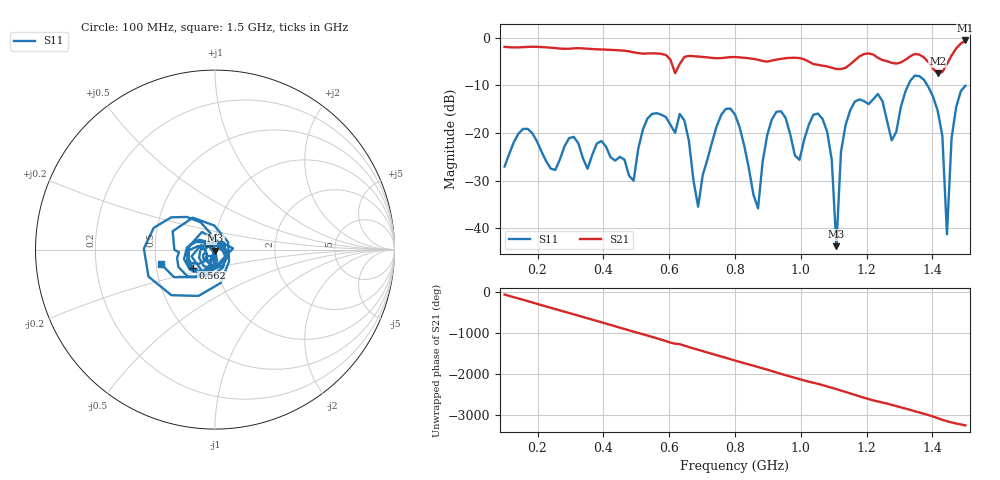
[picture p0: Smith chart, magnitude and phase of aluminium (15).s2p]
! NanoVNA-App
! Date: 2025-09-25 14:55:23
! Start: 100MHz Stop: 1,5GHz Points: 101
! S-Parameter data: F S11 S21 S12 S22
# Hz S RI R 50
!  Frequency  S11_Real  S11_Imag  S21_Real  S21_Imag  S12_Real  S12_Imag  S22_Real  S22_Imag
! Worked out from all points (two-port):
!   101 points, 100 MHz to 1.5 GHz, reference 50 ohm
!   highest |S21| = -0.57 dB at 1.5 GHz (marker M1); lowest = -7.5 dB at 1.416 GHz (marker M2)
!   |S21| within 3 dB of the highest: start of sweep to 587.2 MHz; 1.188 GHz to 1.221 GHz (33.17 MHz wide, 2.75 % of centre) (the widest 2 of 4)
!   lowest |S11| = -43.7 dB at 1.108 GHz (marker M3), VSWR 1.01, Z = 50.2 - j0.615 ohm
!   |S11| at or under -10 dB: start of sweep to 1.326 GHz; 1.385 GHz to end of sweep
!   S12 and S22 are empty: the file has one direction only
!   S11 on the Smith chart (normalised r, x): 100 MHz: 1.07, +0.06; 562 MHz: 0.76, -0.16; 1.5 GHz: 0.53, -0.09
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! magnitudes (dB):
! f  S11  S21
! 100 MHz  -27.0  -1.9
! 338 MHz  -25.3  -2.2
! 492 MHz  -30.0  -3.1
! 562 MHz  -15.8  -3.3
! 576 MHz  -16.1  -3.4
! 646 MHz  -17.3  -4.0
! 688 MHz  -35.4  -3.9
! 800 MHz  -16.1  -4.0
! 870 MHz  -35.8  -4.6
! 912 MHz  -17.1  -4.8
! 996 MHz  -25.6  -4.3
! 1.038 GHz  -16.2  -5.5
! 1.08 GHz  -19.7  -6.0
! 1.108 GHz  -43.7  -6.6
! 1.122 GHz  -23.9  -6.6
! 1.15 GHz  -15.2  -5.6
! 1.276 GHz  -21.5  -5.3
! 1.346 GHz  -8.0  -3.4
! 1.416 GHz  -15.4  -7.5
! 1.444 GHz  -41.2  -5.5
! 1.458 GHz  -21.1  -3.7
! 1.5 GHz  -10.1  -0.6
